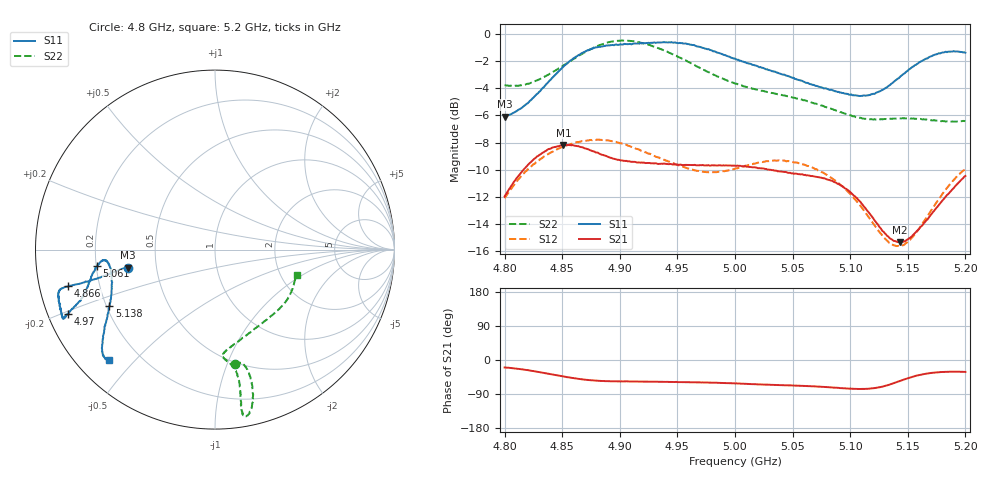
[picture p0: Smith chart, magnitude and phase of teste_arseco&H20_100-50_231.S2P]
! Network Analyzer HP8722D
! Hewlett-Packard
! Data name: Linha & Wilkinson
! Saver's name: Rodrigo Anjos
! Comments: Teste da utilização de aquisição
! continua pelo VNA HP8722D
! Time and date: 6/5/2025 14:29
!  Frequency  S11  S21  S12  S22
# HZ  S  MA R 50
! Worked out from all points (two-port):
!   401 points, 4.8 GHz to 5.2 GHz, reference 50 ohm
!   highest |S21| = -8.17 dB at 4.851 GHz (marker M1); lowest = -15.3 dB at 5.143 GHz (marker M2)
!   |S21| within 3 dB of the highest: 4.806 GHz to 5.092 GHz (286.5 MHz wide, 5.79 % of centre); 5.191481 GHz to end of sweep
!   lowest |S11| = -6.1 dB at 4.8 GHz (marker M3), VSWR 2.97, Z = 17 - j4.57 ohm
!   |S11| at or under -10 dB: nowhere
!   |S22| runs from -6.5 to -0.5 dB; largest |S21 - S12| = 0.62
!   S11 on the Smith chart (normalised r, x): 4.8 GHz: 0.34, -0.09; 4.866 GHz: 0.09, -0.12; 4.97 GHz: 0.06, -0.21; 5.061 GHz: 0.20, -0.07; 5.138 GHz: 0.21, -0.24; 5.2 GHz: 0.09, -0.43
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4.8e9  0.4966 -168.2  0.2525 -19.7  0.2488 -141.0  0.6472 -80.3
4.823e9  0.5706 -167.5  0.3385 -28.3  0.3255 -143.9  0.661 -76.0
4.851e9  0.7568 -165.9  0.3904 -43.3  0.3844 -149.3  0.7646 -74.6
4.866e9  0.8437 -165.9  0.3835 -50.4  0.4017 -151.9  0.8387 -75.3
4.867e9  0.8492 -165.9  0.3833 -50.9  0.4033 -152.1  0.8424 -75.4
4.88e9  0.8915 -165.6  0.3659 -54.8  0.4081 -154.2  0.8989 -76.8
4.9e9  0.9135 -162.6  0.3433 -56.3  0.396 -156.6  0.9427 -79.2
4.934e9  0.9285 -156.5  0.3326 -57.5  0.3509 -155.7  0.8828 -80.5
4.97e9  0.8938 -156.4  0.3292 -59.2  0.3123 -147.1  0.7474 -79.6
5e9  0.8106 -159.1  0.3273 -61.8  0.3194 -137.3  0.6563 -81.4
5.036e9  0.7211 -165.6  0.314 -66.0  0.3417 -134.4  0.6013 -85.7
5.061e9  0.6626 -172.0  0.3032 -68.5  0.3294 -136.3  0.5695 -84.0
5.067e9  0.6498 -173.2  0.3003 -69.2  0.3228 -136.9  0.558 -82.6
5.084e9  0.6219 -174.5  0.2884 -72.4  0.295 -138.4  0.5294 -76.2
5.101e9  0.5986 -172.1  0.2596 -75.8  0.2549 -138.8  0.5005 -66.5
5.115e9  0.594 -165.9  0.2235 -75.9  0.2149 -136.0  0.4864 -56.4
5.134e9  0.6462 -154.4  0.1779 -65.1  0.1703 -120.6  0.4866 -43.2
5.138e9  0.6668 -151.9  0.1733 -61.0  0.1669 -115.5  0.4876 -40.8
5.143e9  0.6928 -149.3  0.1714 -55.8  0.166 -108.9  0.489 -38.0
5.154e9  0.7561 -144.6  0.1811 -44.4  0.1789 -95.0  0.4877 -32.3
5.172e9  0.8336 -139.1  0.2217 -33.6  0.2299 -81.2  0.481 -24.5
5.2e9  0.8522 -133.6  0.3003 -31.4  0.3196 -77.0  0.4772 -17.6
